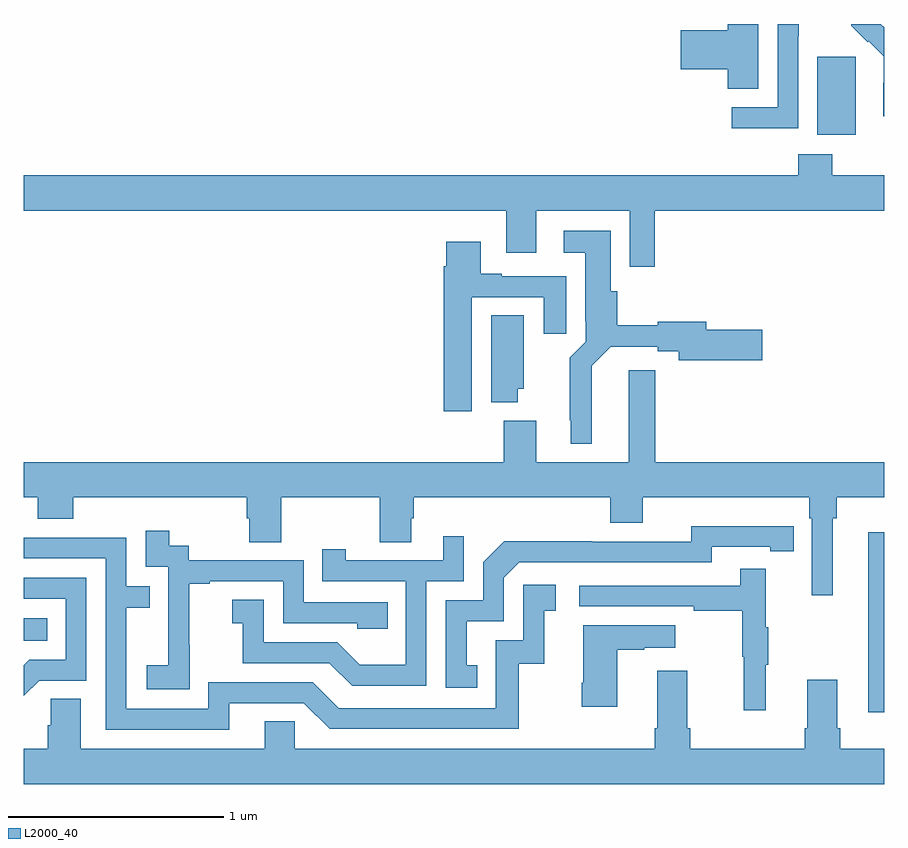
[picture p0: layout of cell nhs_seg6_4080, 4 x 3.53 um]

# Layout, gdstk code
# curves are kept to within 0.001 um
import gdstk
lib = gdstk.Library(unit=1e-6, precision=1e-09)
def R(c, l, rs):  # rectangles x0, y0, x1, y1
    for r in rs: c.add(gdstk.rectangle(r[:2], r[2:], *l))
def P(c, l, *ps):  # polygons
    for p in ps: c.add(gdstk.Polygon(p, *l))
L2000_40 = (2000, 40)

nhs_seg6_4080 = lib.new_cell('nhs_seg6_4080')
R(nhs_seg6_4080, L2000_40, [(354.926,982.302,355,983.137), (351,982.634,351.11,982.738), (354.689,984.986,354.868,985.347)])
P(nhs_seg6_4080, L2000_40, [(355,985.484),(354.984,985.5),(354.847,985.5),(354.847,985.493),(354.924,985.416),(354.927,985.419),(354.998,985.349),(354.998,985.226),(354.996,985.226),(354.996,985.072),(355,985.072)],
  [(354.6,985.444),(354.603,985.444),(354.603,985.5),(354.504,985.5),(354.504,985.113),(354.291,985.113),(354.291,985.015),(354.6,985.015)],
  [(354.415,985.5),(354.272,985.5),(354.272,985.472),(354.054,985.472),(354.054,985.289),(354.272,985.289),(354.272,985.198),(354.415,985.198)],
  [(353.933,984.632),(355,984.632),(355,984.796),(354.759,984.796),(354.759,984.895),(354.599,984.895),(354.599,984.796),(351,984.796),(351,984.632),(353.243,984.632),(353.243,984.438),(353.383,984.438),(353.383,984.632),(353.817,984.632),(353.817,984.372),(353.933,984.372)],
  [(353.641,983.912),(353.728,984),(353.948,984),(353.948,983.98),(354.044,983.98),(354.044,983.938),(354.433,983.938),(354.433,984.08),(354.172,984.08),(354.172,984.116),(353.948,984.116),(353.948,984.101),(353.759,984.101),(353.759,984.258),(353.728,984.258),(353.728,984.538),(353.511,984.538),(353.511,984.437),(353.609,984.437),(353.609,984.118),(353.613,984.118),(353.613,984.024),(353.539,983.95),(353.539,983.659),(353.543,983.659),(353.543,983.549),(353.641,983.549)],
  [(353.083,984.231),(353.417,984.231),(353.417,984.06),(353.521,984.06),(353.521,984.327),(353.221,984.327),(353.221,984.34),(353.125,984.34),(353.125,984.487),(352.964,984.487),(352.964,984.374),(352.952,984.374),(352.952,983.7),(353.083,983.7)],
  [(353.296,983.805),(353.323,983.805),(353.323,984.146),(353.174,984.146),(353.174,983.741),(353.296,983.741)],
  [(354.76,983.204),(354.779,983.204),(354.779,983.3),(355,983.3),(355,983.464),(353.936,983.464),(353.936,983.89),(353.813,983.89),(353.813,983.464),(353.383,983.464),(353.383,983.656),(353.231,983.656),(353.231,983.464),(351,983.464),(351,983.3),(351.065,983.3),(351.065,983.201),(351.23,983.201),(351.23,983.3),(352.037,983.3),(352.037,983.202),(352.049,983.202),(352.049,983.092),(352.197,983.092),(352.197,983.3),(352.654,983.3),(352.654,983.092),(352.801,983.092),(352.801,983.202),(352.814,983.202),(352.814,983.3),(353.726,983.3),(353.726,983.183),(353.878,983.183),(353.878,983.3),(354.65,983.3),(354.65,983.204),(354.663,983.204),(354.663,982.845),(354.76,982.845)],
  [(353.108,982.521),(353.059,982.521),(353.059,982.725),(353.232,982.725),(353.232,982.926),(353.304,982.998),(354.198,982.998),(354.198,983.07),(354.47,983.07),(354.47,983.05),(354.578,983.05),(354.578,983.166),(354.102,983.167),(354.102,983.094),(353.642,983.094),(353.642,983.096),(353.234,983.096),(353.136,982.998),(353.136,982.821),(352.962,982.821),(352.962,982.416),(353.108,982.416)],
  [(351.771,982.615),(351.77,982.615),(351.77,982.899),(351.865,982.899),(351.865,982.911),(352.206,982.911),(352.206,982.716),(352.551,982.716),(352.551,982.689),(352.691,982.689),(352.691,982.812),(352.302,982.812),(352.302,983.007),(351.768,983.007),(351.768,983.076),(351.676,983.076),(351.676,983.146),(351.567,983.146),(351.567,982.977),(351.672,982.977),(351.672,982.748),(351.671,982.748),(351.671,982.519),(351.573,982.519),(351.573,982.409),(351.771,982.409)],
  [(352.872,982.911),(353.046,982.911),(353.046,983.119),(352.949,983.119),(352.949,983.007),(352.498,983.007),(352.498,983.059),(352.387,983.059),(352.387,982.911),(352.776,982.911),(352.776,982.522),(352.562,982.522),(352.458,982.626),(352.116,982.626),(352.116,982.825),(351.969,982.825),(351.969,982.715),(352.018,982.715),(352.018,982.53),(352.421,982.53),(352.526,982.425),(352.872,982.425)],
  [(351.955,982.344),(352.302,982.344),(352.422,982.224),(353.302,982.224),(353.302,982.527),(353.42,982.527),(353.42,982.773),(353.473,982.773),(353.473,982.894),(353.322,982.894),(353.322,982.635),(353.193,982.635),(353.193,982.32),(352.464,982.32),(352.344,982.44),(351.858,982.44),(351.858,982.317),(351.477,982.317),(351.477,982.786),(351.587,982.786),(351.587,982.887),(351.477,982.887),(351.477,983.112),(351,983.112),(351,983.016),(351.381,983.016),(351.381,982.221),(351.955,982.221)],
  [(354.449,982.523),(354.46,982.523),(354.46,982.697),(354.449,982.697),(354.449,982.969),(354.331,982.969),(354.331,982.89),(353.583,982.89),(353.583,982.794),(354.115,982.794),(354.115,982.774),(354.339,982.774),(354.339,982.56),(354.346,982.56),(354.346,982.311),(354.449,982.311)],
  [(351.072,982.449),(351.291,982.449),(351.291,982.926),(351,982.926),(351,982.83),(351.195,982.83),(351.195,982.545),(351.026,982.545),(351,982.519),(351,982.378)],
  [(353.758,982.591),(353.885,982.591),(353.885,982.601),(354.028,982.601),(354.028,982.705),(353.6,982.705),(353.6,982.438),(353.593,982.438),(353.593,982.326),(353.758,982.326)],
  [(355,982.132),(354.794,982.132),(354.794,982.228),(354.781,982.228),(354.781,982.453),(354.641,982.453),(354.641,982.228),(354.629,982.228),(354.629,982.132),(354.098,982.132),(354.098,982.228),(354.085,982.228),(354.085,982.495),(353.945,982.495),(353.945,982.228),(353.933,982.228),(353.933,982.132),(352.26,982.132),(352.26,982.259),(352.121,982.259),(352.121,982.132),(351.265,982.132),(351.265,982.364),(351.126,982.364),(351.126,982.241),(351.113,982.241),(351.113,982.132),(351,982.132),(351,981.968),(355,981.968)])

lib.write_gds('nhs_seg6_4080.gds')
